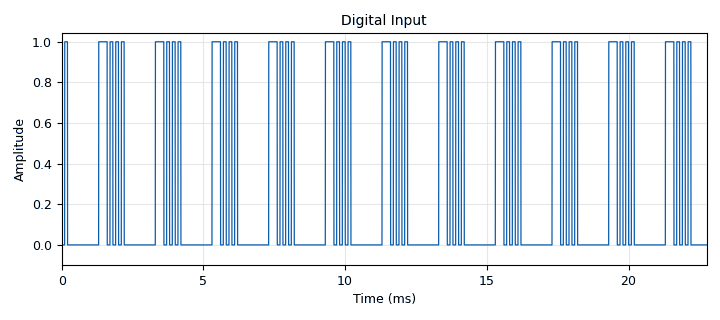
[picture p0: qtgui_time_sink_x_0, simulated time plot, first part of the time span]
<?xml version='1.0' encoding='utf-8'?>
<?grc format='1' created='3.7.13'?>
<flow_graph>
<block>
<key>options</key>
<param><key>id</key><value>top_block</value></param>
<param><key>category</key><value>Custom</value></param>
<param><key>generate_options</key><value>qt_gui</value></param>
</block>
<block>
<key>variable</key>
<param><key>id</key><value>samp_rate</value></param>
<param><key>value</key><value>400e3</value></param>
</block>
<block>
<key>variable</key>
<param><key>id</key><value>sps</value></param>
<param><key>comment</key><value>samples per symbol</value></param>
<param><key>value</key><value>int(symbol_time*samp_rate)</value></param>
</block>
<block>
<key>variable</key>
<param><key>id</key><value>symbol_rate</value></param>
<param><key>value</key><value>1.0/symbol_time</value></param>
</block>
<block>
<key>variable</key>
<param><key>id</key><value>symbol_time</value></param>
<param><key>value</key><value>0.1e-3</value></param>
</block>
<block>
<key>blocks_repeat</key>
<param><key>id</key><value>blocks_repeat_0</value></param>
<param><key>interp</key><value>sps</value></param>
<param><key>type</key><value>float</value></param>
</block>
<block>
<key>blocks_throttle</key>
<param><key>id</key><value>blocks_throttle_0</value></param>
<param><key>samples_per_second</key><value>samp_rate</value></param>
<param><key>type</key><value>float</value></param>
</block>
<block>
<key>blocks_vector_source_x</key>
<param><key>id</key><value>blocks_vector_source_x_0</value></param>
<param><key>type</key><value>float</value></param>
<param><key>repeat</key><value>True</value></param>
<param><key>vector</key><value>(0, 1, 1, 1, 0, 1, 0, 1, 0, 1, 0, 0, 0, 0, 0, 0, 0, 0, 0, 0)</value></param>
</block>
<block>
<key>qtgui_time_sink_x</key>
<param><key>id</key><value>qtgui_time_sink_x_0</value></param>
<param><key>color1</key><value>"blue"</value></param>
<param><key>label1</key><value></value></param>
<param><key>name</key><value>"Digital Input"</value></param>
<param><key>size</key><value>16384</value></param>
<param><key>srate</key><value>samp_rate</value></param>
<param><key>tr_delay</key><value>100e-6</value></param>
<param><key>tr_level</key><value>0.5</value></param>
<param><key>tr_mode</key><value>qtgui.TRIG_MODE_AUTO</value></param>
<param><key>type</key><value>float</value></param>
<param><key>ymin</key><value>-0.1</value></param>
</block>
<connection><source_block_id>blocks_repeat_0</source_block_id><sink_block_id>qtgui_time_sink_x_0</sink_block_id><source_key>0</source_key><sink_key>0</sink_key></connection>
<connection><source_block_id>blocks_throttle_0</source_block_id><sink_block_id>blocks_repeat_0</sink_block_id><source_key>0</source_key><sink_key>0</sink_key></connection>
<connection><source_block_id>blocks_vector_source_x_0</source_block_id><sink_block_id>blocks_throttle_0</sink_block_id><source_key>0</source_key><sink_key>0</sink_key></connection>
</flow_graph>
